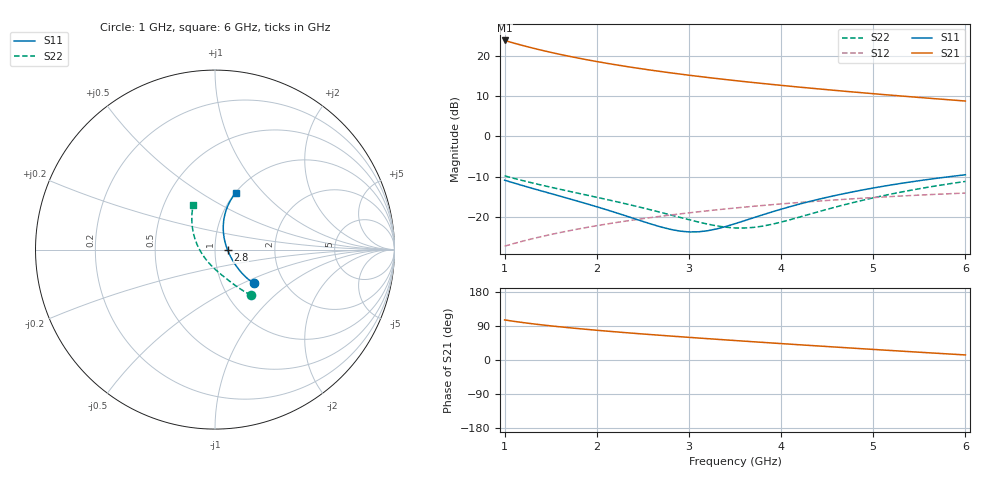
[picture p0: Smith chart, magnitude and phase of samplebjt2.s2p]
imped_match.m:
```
%% Designing Impedance Matching Networks 
% Input and output matching networks are an important part of amplifier
% design. This demo utilizes the Smith chart to find the input and output
% matching networks that will maximize the power delivered to a 50 Ohm
% load. This is accomplished by finding the required transmission line
% lengths for the single-stub matching networks. With the transmission line
% lengths found, the matching networks are cascaded with the amplifier and
% the results are visualized.

%   Copyright 2004 The MathWorks, Inc.
%   $Revision: 1.1.6.2 $ $Date: 2004/04/08 20:56:13 $

%% Create the RFCKT amplifier object
% Create the amplifier, using the data in the data file 'samplebjt2.s2p'. 
amp = rfckt.amplifier('File', 'samplebjt2.s2p');

%%
% Analyze the amplifier at the desired center frequency of 1.9 GHz and
% acquire the amplifier S-parameters, using the RFCKT methods ANALYZE and
% CALCULATE.
analyze(amp, 1.9e9);
data = calculate(amp, 'S11', 'S12', 'S21', 'S22', 'none');

[s11, s12, s21, s22] = deal(data{1}, data{2}, data{3}, data{4});


%% Check for amplifier stability
% Before proceeding with the design, check the stability of the amplifier.
% The necessary and sufficient conditions for unconditional stability are K
% greater than 1 and an absolute value of delta less than 1. 
delta = s11*s22-s12*s21;
K = (1-abs(s11)^2-abs(s22)^2+abs(delta)^2)/(2*abs(s12*s21))
abs_delta = abs(delta)

%%
% Since both conditions are satisfied, the amplifier is unconditionally
% stable. As a result, any passive source or load will produce a stable
% condition.

%% Define simultaneous conjugate match value
% In order to design the input and output matching networks, the required
% source and load reflection coefficients for a simultaneous conjugate
% match must be found. Calculate the necessary load reflection coefficient
% for the design of the output matching network using the amplifier
% S-parameters.
B = 1+abs(s22)^2-abs(s11)^2-abs(delta)^2;
C = s22-delta*conj(s11);

gammaL = (B-sqrt(B^2-4*abs(C)^2))/2/C;

%% Draw the SWR circle
% Define the SWR circle associated with the load reflection coefficient.
% The radius of this circle is given by the magnitude of the load
% reflection coefficient. Use this radius (center is the origin) to
% calculate points on the circle.
theta = 0:pi/50:2*pi;
xin = abs(gammaL)*cos(theta);
yin = abs(gammaL)*sin(theta);

%%
% Then, plot and label the desired input impedance at the output matching
% network (based on the load reflection coefficient) along with the SWR
% circle on a YZ Smith chart. 
[hls, hs] = smithchart;
set(hs, 'Type', 'yz');
hold on
plot(xin, yin, '-', real(gammaL), imag(gammaL), 'k.', ...
    'LineWidth', 2, 'MarkerSize', 20);
text(-0.05, 0.35, 'z_{in}', 'FontSize', 12, 'FontUnits', 'normalized');

%% Draw the constant conductance circle
% In order to find the required susceptance to move the load (50 Ohm)
% admittance to the SWR circle, define the constant conductance circle. To 
% do this, define the normalized load impedance and the corresponding load
% admittance, with respect to a characteristic impedance of 50 Ohm for the
% transmission lines.
zL = 50/50; % zL = 1
yL = 1/zL; % yL = 1 

%%
% The diameter and center of the circle can be found from the conductance
% value.
g = real(yL); % g = 1
d = -(g-1)/(g+1)+1; % d = 1
C = -1+d/2; % C = -1/2

%%
% Use the radius (half the diameter) and center of the constant conductance
% circle to calculate points on the circle. 
xg = d/2*cos(theta)+C;
yg = d/2*sin(theta);

%%
% Then, plot and label the load impedance point (located at the center of
% the Smith chart) along with the constant conductance circle associated
% with the load admittance on the Smith chart.
plot(xg, yg, 'r', 0, 0, 'k.', 'LineWidth', 2, 'MarkerSize', 20);
text(0.05, 0, 'z_L', 'FontSize', 12, 'FontUnits', 'normalized');

%% Find the intersection points
% With the SWR and constant conductance circles drawn, find the points of
% intersection corresponding to two possible solutions. These points can
% then be used to find the required susceptance values for the stub and are
% found by visual inspection. Since only one solution is necessary, choose
% the lower-half intersection point.
yA = 1+0.62j;

%%
% Plot and label this intersection point on the Smith chart using the
% reflection coefficient from the admittance value.
gammaA = (1/yA-1)/(1/yA+1);
plot(real(gammaA), imag(gammaA), 'k.', 'MarkerSize', 20);
text(-0.09, -0.35, 'A', 'FontSize', 12, 'FontUnits', 'normalized');
hold off

%% Calculate the required transmission line lengths
% A single-stub matching network topology is used. The required lengths of
% the series transmission line and open-circuit stub can be found based on
% the intersection point. To accomplish this, first calculate the required
% susceptance value for the stub and the corresponding reflection
% coefficient. 
jbSA = yA-yL;
gammaSA = (1/jbSA-1)/(1/jbSA+1);

%%
% Then, the length of the stub can be found by calculating the angle of
% rotation from the y=0 (open-circuit) point to the calculated susceptance
% point.
ang = -angle(gammaSA)*180/pi;
stubLengthA = ang/360/2

%%
% Finally, find the required length of the series transmission line based
% on the angle of rotation from point A to Zin.
ang = 360-(angle(gammaL)-angle(gammaA))*180/pi;
seriesLengthA = ang/360/2

%%
% The required lengths (in terms of wavelength) for the transmission lines
% based on the solution from point A are given above. Following a similar
% approach, the line lengths for the input matching network can be shown to
% be given by:
stubLengthin = 0.0763;
seriesLengthin = 0.2266;

%% Verify the design
% Build the circuit, using microstrip transmission lines with a
% characteristic impedance of 50 Ohms for the matching networks. To
% accomplish this, first check the impedance of a microstrip object (whose
% properties are set to the default values) at the design frequency of 1.9
% GHz by analyzing the object.
hstubOutput = rfckt.microstrip;
analyze(hstubOutput, 1.9e9);
Z0 = get(hstubOutput, 'Z0')

%%
% This characteristic impedance is very close to the desired impedance and
% will be used for this design.

%%
% In order to appropriately set the required transmission line lengths in
% meters, analyze the microstrip to get a phase velocity value, which will
% be necessary to calculate the wavelength.
phase_vel = get(hstubOutput, 'PV');

%%
% Set the appropriate transmission line lengths for the two series
% microstrip transmission lines necessary for the input and output matching
% networks.
hseriesOutput = rfckt.microstrip( ...
    'LineLength', phase_vel/1.9e9*seriesLengthA);
hseriesInput = rfckt.microstrip( ...
    'LineLength', phase_vel/1.9e9*seriesLengthin);

%%
% Similarly, set the transmission line lengths and stub mode for the two
% stubs necessary for the input and output matching networks.
set(hstubOutput, 'LineLength', phase_vel/1.9e9*stubLengthA, ...
    'StubMode', 'shunt', 'Termination', 'open');
hstubInput = rfckt.microstrip( ...
    'LineLength', phase_vel/1.9e9*stubLengthin, ...
    'StubMode', 'shunt', 'Termination', 'open');

%%
% Then, cascade the circuit elements and analyze the amplifier with and
% without the matching networks over the frequency range of 1.5 to 2.3 GHz
% in order to visualize and compare the results.
matched_amp = rfckt.cascade('Ckts', ...
    {hstubInput, hseriesInput, amp, hseriesOutput, hstubOutput});
analyze(matched_amp, 1.5e9:1e8:2.3e9);
analyze(amp, 1.5e9:1e8:2.3e9);

%% 
% In order to verify the simultaneous conjugate match at the input and
% output of the amplifier, plot S11 and S22 in dB for both circuits.
hls = zeros(1,2);
hls(1) = plot(amp, 'S11', 'dB');
hold on;
hls(2) = plot(matched_amp, 'S11', 'dB');
set(hls(2), 'Color', [1 0 0]);
legend(hls, 'S_{11} - Original Amplifier', 'S_{11} - Matched Amplifier');
hold off

%%
hls(1) = plot(amp, 'S22', 'dB');
hold on;
hls(2) = plot(matched_amp, 'S22', 'dB');
set(hls(2), 'Color', [1 0 0]);
legend(hls, 'S_{22} - Original Amplifier', 'S_{22} - Matched Amplifier');
hold off

%%
% Finally, plot S21 in dB for both circuits.
hls(1) = plot(amp, 'S21', 'dB');
hold on;
hls(2) = plot(matched_amp, 'S21', 'dB');
set(hls(2), 'Color', [1 0 0]);
legend(hls, 'S_{21} - Original Amplifier', 'S_{21} - Matched Amplifier');
hold off

%%
% The results for the matched amplifier can be compared with the expected
% transducer gain (in dB).  From the S21 plot we see that the gain of the
% matched amplifier at 1.9GHz is between 19dB and 19.5dB.  The expected
% gain is given by the formula:
Gt = 10*log10(abs(s21)/abs(s12)*(K-sqrt(K^2-1)))

%%
% which agrees with the actual result from the plot.
```
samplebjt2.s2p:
# GHz S MA R 50
! S-Parameters data
! FREQ  magS11  angS11  magS21  angS21  magS12  angS12  magS22  angS22
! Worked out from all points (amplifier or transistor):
!   51 points, 1 GHz to 6 GHz, reference 50 ohm
!   highest |S21| = 23.8 dB at 1 GHz (marker M1)
!   |S21| within 3 dB of that: start of sweep to 1.512 GHz
!   unconditionally stable (mu >= 1): 1.18 GHz to end of sweep
!   at 1.8 GHz: K = 1.05, MAG = 19.7 dB, |S12| = -22.9 dB
!   at 3.5 GHz: K = 1.10, MAG = 13.8 dB, |S12| = -17.8 dB
!   at 6 GHz: K = 1.12, MAG = 9.3 dB, |S12| = -14.0 dB
!   S11 on the Smith chart (normalised r, x): 1 GHz: 1.41, -0.58; 2.8 GHz: 1.15, -0.01; 6 GHz: 1.01, +0.71
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1  0.2866 -41.0  15.4 105.7  0.04364 55.3  0.3242 -51.5
1.1  0.2646 -41.5  14.29 102.1  0.04705 55.3  0.3022 -53.4
1.3  0.2271 -41.7  12.44 95.7  0.0539 55.0  0.2649 -56.8
1.5  0.1958 -41.0  10.98 90.1  0.06082 54.2  0.2345 -59.9
1.7  0.1689 -39.5  9.81 85.2  0.06777 53.1  0.2088 -63.0
1.9  0.1452 -37.1  8.857 80.6  0.07475 51.7  0.1862 -66.4
2.2  0.1141 -31.1  7.718 74.4  0.08523 49.3  0.1564 -72.4
2.8  0.07045 -2.3  6.12 63.3  0.106 43.5  0.1065 -91.4
3.5  0.08277 52.0  4.906 51.4  0.1296 35.8  0.07335 -138.6
4.6  0.1865 74.0  3.696 34.0  0.1635 22.5  0.134 148.8
6  0.3342 70.0  2.737 13.3  0.1984 5.1  0.2763 116.0
